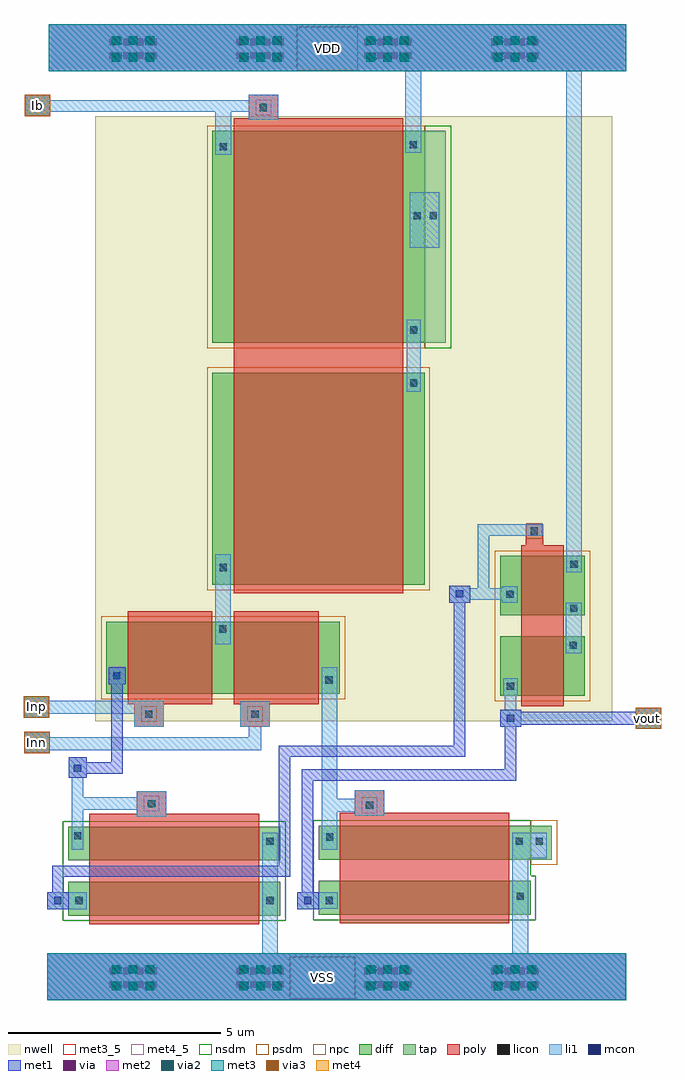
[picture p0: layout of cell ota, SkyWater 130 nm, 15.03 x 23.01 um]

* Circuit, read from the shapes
.subckt ota Ib Inn Inp VDD VSS vout
XM1 VSS n1 n2 VSS sky130_fd_pr__nfet_01v8 w=0.8 l=4
XM2 VSS n1 n1 VSS sky130_fd_pr__nfet_01v8 w=0.8 l=4
XM3 VSS n3 vout VSS sky130_fd_pr__nfet_01v8 w=0.8 l=4
XM4 VSS n3 n3 VSS sky130_fd_pr__nfet_01v8 w=0.8 l=4
XM5 n4 Inp n1 VDD sky130_fd_pr__pfet_01v8 w=1.7 l=2
XM6 n3 Inn n4 VDD sky130_fd_pr__pfet_01v8 w=1.7 l=2
XM7 VDD Ib n4 VDD sky130_fd_pr__pfet_01v8 w=5 l=4
XM8 VDD Ib Ib VDD sky130_fd_pr__pfet_01v8 w=5 l=4
XM9 VDD n2 vout VDD sky130_fd_pr__pfet_01v8 w=1.4 l=1
XM10 VDD n2 n2 VDD sky130_fd_pr__pfet_01v8 w=1.4 l=1
.ends

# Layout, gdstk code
import gdstk
lib = gdstk.Library(unit=1e-6, precision=1e-09)
def R(c, l, rs):  # rectangles x0, y0, x1, y1
    for r in rs: c.add(gdstk.rectangle(r[:2], r[2:], *l))
def A(c, l, x, y, w, h, nx, ny, dx, dy):  # array of equal rectangles
    R(c, l, [(x+i*dx, y+j*dy, x+i*dx+w, y+j*dy+h) for i in range(nx) for j in range(ny)])
nwell = (64, 20)
diff = (65, 20)
tap = (65, 44)
poly = (66, 20)
licon = (66, 44)
li1 = (67, 20)
mcon = (67, 44)
met1 = (68, 20)
via = (68, 44)
met2 = (69, 20)
via2 = (69, 44)
met3_5 = (70, 5)
met3 = (70, 20)
via3 = (70, 44)
met4_5 = (71, 5)
met4 = (71, 20)
nsdm = (93, 44)
psdm = (94, 20)
npc = (95, 20)

ota = lib.new_cell('ota')
R(ota, nwell, [(35.09,8.33,47.27,22.6)])
R(ota, diff, [(34.45,3.75,39.45,4.55), (40.35,3.77,45.35,4.57), (34.45,5.05,39.45,5.85), (40.35,5.07,45.35,5.87), (44.63,8.93,46.63,10.33), (35.35,8.98,40.85,10.68), (44.63,10.83,46.63,12.23), (37.85,11.55,42.85,16.55), (37.85,17.25,42.85,22.25)])
R(ota, tap, [(45.35,5.07,45.85,5.87), (42.85,17.25,43.35,22.25)])
R(ota, poly, [(34.95,3.55,38.95,6.15), (40.85,3.57,44.85,6.17), (36.06,6.15,36.76,6.68), (41.2,6.17,41.9,6.7), (36,8.2,36.7,8.73), (38.5,8.2,39.2,8.73), (45.13,8.68,46.13,12.48), (35.85,8.73,37.85,10.93), (38.35,8.73,40.35,10.93), (38.35,11.35,42.35,22.55), (45.24,12.48,45.65,12.98), (38.7,22.55,39.4,23.1)])
R(ota, licon, [(34.62,4.02,34.79,4.19), (39.12,4.02,39.29,4.19), (40.52,4.02,40.69,4.19), (45.02,4.12,45.19,4.29), (45.47,5.415,45.64,5.585), (39.12,5.42,39.29,5.59), (45,5.42,45.17,5.59), (40.53,5.52,40.7,5.69), (34.585,5.545,34.755,5.715), (41.465,6.265,41.635,6.435), (36.325,6.305,36.495,6.475), (36.265,8.415,36.435,8.585), (38.765,8.415,38.935,8.585), (44.79,9.07,44.96,9.24), (40.51,9.22,40.68,9.39), (35.51,9.32,35.68,9.49), (46.27,10.04,46.44,10.21), (38.01,10.42,38.18,10.59), (46.28,10.91,46.45,11.08), (44.78,11.24,44.95,11.41), (38.02,11.87,38.19,12.04), (46.29,11.95,46.46,12.12), (45.35,12.73,45.52,12.9), (42.51,16.22,42.68,16.39), (42.51,17.47,42.68,17.64), (42.59,20.165,42.76,20.335), (42.97,20.165,43.14,20.335), (38.02,21.79,38.19,21.96), (42.5,21.84,42.67,22.01), (38.965,22.715,39.135,22.885)])
R(ota, li1, [(33.96,1.77,47.59,2.86), (39.02,2.86,39.39,5.7), (44.92,2.86,45.29,5.1), (33.96,3.9,34.89,4.3), (39.85,3.9,40.41,3.91), (39.85,3.91,40.8,4.3), (44.92,5.1,45.73,5.7), (34.53,5.3,34.8,6.24), (40.42,5.3,40.79,6.2), (36.06,6.08,36.76,6.24), (41.2,6.1,41.9,6.2), (40.42,6.2,41.9,6.5), (34.53,6.24,36.76,6.54), (40.42,6.5,40.79,9.6), (41.2,6.5,41.9,6.7), (34.53,6.54,34.8,7), (36.06,6.54,36.76,6.68), (34.46,7,34.89,7.48), (33.41,7.58,34.01,7.65), (33.41,7.65,39,7.95), (33.41,7.95,34.01,8.08), (38.7,7.95,39,8.2), (36,8.2,36.7,8.51), (38.5,8.2,39.2,8.8), (44.63,8.2,45.13,8.6), (33.4,8.42,34,8.51), (33.4,8.51,36.7,8.81), (44.74,8.6,45.01,8.95), (33.4,8.81,34,8.92), (44.7,8.95,45.05,9.35), (35.4,9.2,35.8,9.6), (46.18,9.93,46.55,11.13), (37.91,10.15,38.28,12.27), (44.68,11.12,45.05,11.2), (43.43,11.13,43.93,11.2), (43.43,11.2,45.05,11.47), (43.43,11.47,43.93,11.53), (44.1,11.47,44.37,12.71), (44.68,11.47,45.05,11.52), (46.19,11.84,46.56,23.66), (44.1,12.71,45.65,12.98), (42.43,16.1,42.76,17.8), (42.5,19.5,43.2,20.8), (37.92,21.69,38.29,22.7), (42.4,21.74,42.77,23.66), (38.7,22.51,39.4,22.7), (33.42,22.6,34.02,22.7), (33.42,22.7,39.4,22.97), (33.42,22.97,34.02,23.1), (38.7,22.97,39.4,23.1), (33.99,23.66,47.6,24.77)])
A(ota, mcon, 35.535, 2.02, 0.17, 0.17, 3, 2, 0.36, 0.36)
A(ota, mcon, 38.535, 2.02, 0.17, 0.17, 3, 2, 0.36, 0.36)
A(ota, mcon, 41.535, 2.02, 0.17, 0.17, 3, 2, 0.36, 0.36)
A(ota, mcon, 44.535, 2.02, 0.17, 0.17, 3, 2, 0.36, 0.36)
A(ota, mcon, 35.535, 23.92, 0.17, 0.17, 3, 2, 0.36, 0.36)
A(ota, mcon, 38.535, 23.92, 0.17, 0.17, 3, 2, 0.36, 0.36)
A(ota, mcon, 41.535, 23.92, 0.17, 0.17, 3, 2, 0.36, 0.36)
A(ota, mcon, 44.535, 23.92, 0.17, 0.17, 3, 2, 0.36, 0.36)
R(ota, mcon, [(34.12,4.02,34.29,4.19), (40.01,4.02,40.18,4.19), (34.58,7.14,34.75,7.31), (33.625,7.745,33.795,7.915), (44.79,8.32,44.96,8.49), (33.615,8.585,33.785,8.755), (35.51,9.32,35.68,9.49), (43.59,11.25,43.76,11.42), (33.635,22.765,33.805,22.935)])
R(ota, met1, [(33.96,1.77,47.59,2.86), (33.96,3.9,34.46,4.3), (39.85,3.9,40.35,4.3), (34.07,4.3,34.34,4.66), (39.96,4.3,40.23,6.93), (34.07,4.66,39.68,4.93), (39.41,4.93,39.68,7.49), (39.96,6.93,45.01,7.2), (34.46,7,34.89,7.09), (34.46,7.09,35.73,7.36), (44.74,7.2,45.01,8.2), (34.46,7.36,34.89,7.48), (35.46,7.36,35.73,9.2), (39.41,7.49,43.81,7.76), (33.41,7.58,34.01,8.08), (43.54,7.76,43.81,11.13), (47.83,8.15,48.43,8.25), (44.63,8.2,45.13,8.25), (44.63,8.25,48.43,8.55), (33.4,8.42,34,8.92), (44.63,8.55,45.13,8.6), (47.83,8.55,48.43,8.65), (35.4,9.2,35.8,9.6), (43.43,11.13,43.93,11.53), (33.42,22.6,34.02,23.1), (33.99,23.66,47.6,24.77)])
A(ota, via, 35.425, 2.05, 0.15, 0.15, 4, 2, 0.32, 0.32)
A(ota, via, 38.425, 2.05, 0.15, 0.15, 4, 2, 0.32, 0.32)
A(ota, via, 41.425, 2.05, 0.15, 0.15, 4, 2, 0.32, 0.32)
A(ota, via, 44.425, 2.05, 0.15, 0.15, 4, 2, 0.32, 0.32)
A(ota, via, 35.425, 23.95, 0.15, 0.15, 4, 2, 0.32, 0.32)
A(ota, via, 38.425, 23.95, 0.15, 0.15, 4, 2, 0.32, 0.32)
A(ota, via, 41.425, 23.95, 0.15, 0.15, 4, 2, 0.32, 0.32)
A(ota, via, 44.425, 23.95, 0.15, 0.15, 4, 2, 0.32, 0.32)
R(ota, via, [(33.635,7.755,33.785,7.905), (48.045,8.325,48.195,8.475), (33.625,8.595,33.775,8.745), (33.645,22.775,33.795,22.925)])
R(ota, met2, [(33.95,1.76,47.6,2.86), (33.41,7.58,34.01,8.08), (47.83,8.15,48.43,8.65), (33.4,8.42,34,8.92), (33.42,22.6,34.02,23.1), (33.99,23.66,47.6,24.77)])
A(ota, via2, 35.48, 1.985, 0.2, 0.2, 3, 2, 0.4, 0.4)
A(ota, via2, 38.48, 1.985, 0.2, 0.2, 3, 2, 0.4, 0.4)
A(ota, via2, 41.48, 1.985, 0.2, 0.2, 3, 2, 0.4, 0.4)
A(ota, via2, 44.48, 1.985, 0.2, 0.2, 3, 2, 0.4, 0.4)
A(ota, via2, 35.48, 23.885, 0.2, 0.2, 3, 2, 0.4, 0.4)
A(ota, via2, 38.48, 23.885, 0.2, 0.2, 3, 2, 0.4, 0.4)
A(ota, via2, 41.48, 23.885, 0.2, 0.2, 3, 2, 0.4, 0.4)
A(ota, via2, 44.48, 23.885, 0.2, 0.2, 3, 2, 0.4, 0.4)
R(ota, via2, [(33.61,7.73,33.81,7.93), (48.02,8.3,48.22,8.5), (33.6,8.57,33.8,8.77), (33.62,22.75,33.82,22.95)])
R(ota, met3_5, [(39.67,1.79,41.21,2.78), (39.84,23.68,41.28,24.7)])
R(ota, met3, [(33.95,1.76,47.6,2.86), (33.41,7.58,34.01,8.08), (47.83,8.15,48.43,8.65), (33.4,8.42,34,8.92), (33.42,22.6,34.02,23.1), (33.99,23.66,47.6,24.77)])
R(ota, via3, [(33.61,7.73,33.81,7.93), (48.02,8.3,48.22,8.5), (33.6,8.57,33.8,8.77), (33.62,22.75,33.82,22.95)])
R(ota, met4_5, [(33.46,7.64,33.96,8.01), (47.87,8.22,48.35,8.58), (33.46,8.49,33.94,8.85), (33.47,22.63,33.98,23.05)])
R(ota, met4, [(33.41,7.58,34.01,8.08), (47.83,8.15,48.43,8.65), (33.4,8.42,34,8.92), (33.42,22.6,34.02,23.1)])
R(ota, nsdm, [(34.325,3.625,39.575,5.975), (40.225,3.645,45.475,4.695), (40.225,4.695,45.35,5.995), (42.85,17.125,43.475,22.375)])
R(ota, psdm, [(45.35,4.945,45.975,5.995), (44.505,8.805,46.755,12.355), (35.225,8.855,40.975,10.805), (37.725,11.425,42.975,16.675), (37.725,17.125,42.85,22.375)])
R(ota, npc, [(41.365,6.165,41.735,6.535), (36.225,6.205,36.595,6.575), (36.165,8.315,36.535,8.685), (38.665,8.315,39.035,8.685), (45.25,12.63,45.62,13), (38.865,22.615,39.235,22.985)])
ota.add(gdstk.Label('Inp', (33.7,8.67), layer=71, texttype=5))
ota.add(gdstk.Label('Inn', (33.71,7.825), layer=71, texttype=5))
ota.add(gdstk.Label('vout', (48.11,8.4), layer=71, texttype=5))
ota.add(gdstk.Label('VDD', (40.56,24.19), layer=70, texttype=5))
ota.add(gdstk.Label('VSS', (40.44,2.285), layer=70, texttype=5))
ota.add(gdstk.Label('Ib', (33.725,22.84), layer=71, texttype=5))

lib.write_gds('ota.gds')
